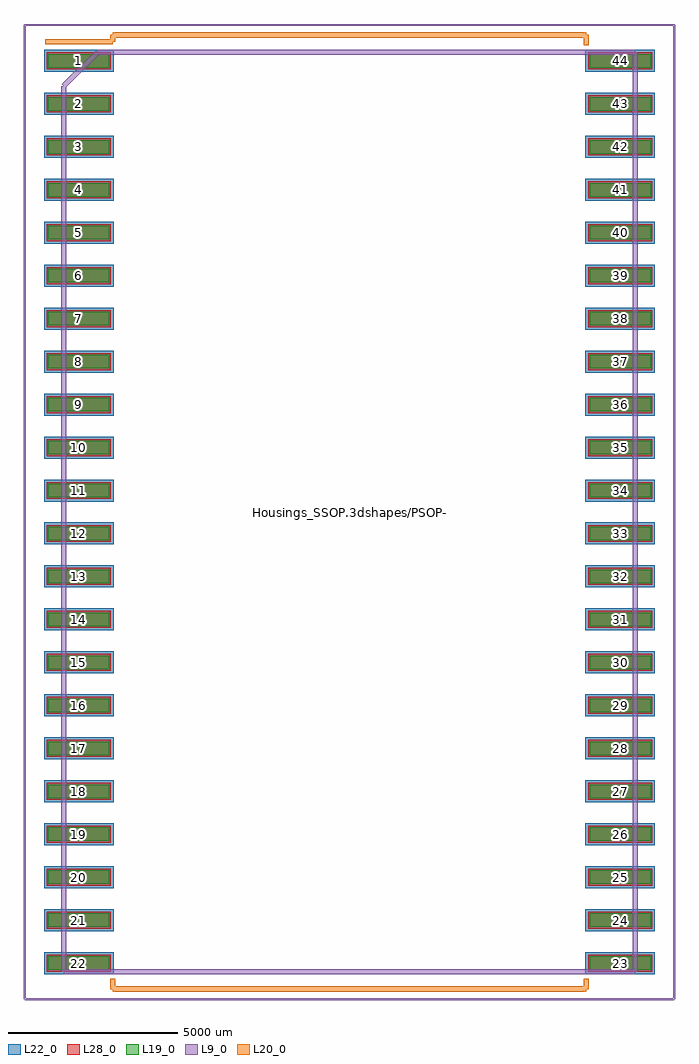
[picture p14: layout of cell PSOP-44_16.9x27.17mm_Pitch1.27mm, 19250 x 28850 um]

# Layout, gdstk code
import gdstk
lib = gdstk.Library(unit=1e-6, precision=1e-09)
def R(c, l, rs):  # rectangles x0, y0, x1, y1
    for r in rs: c.add(gdstk.rectangle(r[:2], r[2:], *l))
def A(c, l, x, y, w, h, nx, ny, dx, dy):  # array of equal rectangles
    R(c, l, [(x+i*dx, y+j*dy, x+i*dx+w, y+j*dy+h) for i in range(nx) for j in range(ny)])
L9_0 = (9, 0)
L19_0 = (19, 0)
L20_0 = (20, 0)
L22_0 = (22, 0)
L28_0 = (28, 0)

psop_44_16_9x27_17mm_pit = lib.new_cell('PSOP-44_16.9x27.17mm_Pitch1.27mm')
A(psop_44_16_9x27_17mm_pit, L19_0, -8900, -13535, 1800, 400, 1, 22, 0, 1270)
A(psop_44_16_9x27_17mm_pit, L19_0, 7100, -13535, 1800, 400, 1, 22, 0, 1270)
A(psop_44_16_9x27_17mm_pit, L22_0, -9025, -13660, 2050, 650, 1, 22, 0, 1270)
A(psop_44_16_9x27_17mm_pit, L22_0, 6975, -13660, 2050, 650, 1, 22, 0, 1270)
A(psop_44_16_9x27_17mm_pit, L28_0, -8950, -13585, 1900, 500, 1, 22, 0, 1270)
A(psop_44_16_9x27_17mm_pit, L28_0, 7050, -13585, 1900, 500, 1, 22, 0, 1270)
psop_44_16_9x27_17mm_pit.add(gdstk.FlexPath([(-7000,13900),(-9000,13900)], 149.998, ends="flush", simple_path=True, layer=20, datatype=0))  # L20_0
psop_44_16_9x27_17mm_pit.add(gdstk.FlexPath([(-7000,-14100),(7000,-14100)], 149.998, ends="flush", simple_path=True, layer=20, datatype=0))  # L20_0
psop_44_16_9x27_17mm_pit.add(gdstk.FlexPath([(-7000,14100),(7000,14100)], 149.998, ends="flush", simple_path=True, layer=20, datatype=0))  # L20_0
psop_44_16_9x27_17mm_pit.add(gdstk.FlexPath([(-7000,-13800),(-7000,-14100)], 149.998, ends="flush", simple_path=True, layer=20, datatype=0))  # L20_0
psop_44_16_9x27_17mm_pit.add(gdstk.FlexPath([(7000,-13800),(7000,-14100)], 149.998, ends="flush", simple_path=True, layer=20, datatype=0))  # L20_0
psop_44_16_9x27_17mm_pit.add(gdstk.FlexPath([(7000,14100),(7000,13800)], 149.998, ends="flush", simple_path=True, layer=20, datatype=0))  # L20_0
psop_44_16_9x27_17mm_pit.add(gdstk.FlexPath([(-7000,14100),(-7000,13900)], 149.998, ends="flush", simple_path=True, layer=20, datatype=0))  # L20_0
psop_44_16_9x27_17mm_pit.add(gdstk.FlexPath([(-9600,-14400),(9600,-14400)], 50, ends="flush", simple_path=True, layer=9, datatype=0))  # L9_0
psop_44_16_9x27_17mm_pit.add(gdstk.FlexPath([(-9600,14400),(9600,14400)], 50, ends="flush", simple_path=True, layer=9, datatype=0))  # L9_0
psop_44_16_9x27_17mm_pit.add(gdstk.FlexPath([(9600,14400),(9600,-14400)], 50, ends="flush", simple_path=True, layer=9, datatype=0))  # L9_0
psop_44_16_9x27_17mm_pit.add(gdstk.FlexPath([(-9600,14400),(-9600,-14400)], 50, ends="flush", simple_path=True, layer=9, datatype=0))  # L9_0
psop_44_16_9x27_17mm_pit.add(gdstk.FlexPath([(-8450,12585),(-7450,13585)], 149.998, ends="flush", simple_path=True, layer=9, datatype=0))  # L9_0
psop_44_16_9x27_17mm_pit.add(gdstk.FlexPath([(-8450,-13585),(-8450,12585)], 149.998, ends="flush", simple_path=True, layer=9, datatype=0))  # L9_0
psop_44_16_9x27_17mm_pit.add(gdstk.FlexPath([(8450,-13585),(-8450,-13585)], 149.998, ends="flush", simple_path=True, layer=9, datatype=0))  # L9_0
psop_44_16_9x27_17mm_pit.add(gdstk.FlexPath([(8450,13585),(8450,-13585)], 149.998, ends="flush", simple_path=True, layer=9, datatype=0))  # L9_0
psop_44_16_9x27_17mm_pit.add(gdstk.FlexPath([(-7450,13585),(8450,13585)], 149.998, ends="flush", simple_path=True, layer=9, datatype=0))  # L9_0
psop_44_16_9x27_17mm_pit.add(gdstk.Label('Housings_SSOP.3dshapes/PSOP-44_16.9x27.17mm_Pitch1.27mm.wrl', (0,0), layer=12, texttype=0))
psop_44_16_9x27_17mm_pit.add(gdstk.Label('44', (8000,13335), layer=28, texttype=0))
psop_44_16_9x27_17mm_pit.add(gdstk.Label('43', (8000,12065), layer=28, texttype=0))
psop_44_16_9x27_17mm_pit.add(gdstk.Label('42', (8000,10795), layer=28, texttype=0))
psop_44_16_9x27_17mm_pit.add(gdstk.Label('41', (8000,9525), layer=28, texttype=0))
psop_44_16_9x27_17mm_pit.add(gdstk.Label('40', (8000,8255), layer=28, texttype=0))
psop_44_16_9x27_17mm_pit.add(gdstk.Label('39', (8000,6985), layer=28, texttype=0))
psop_44_16_9x27_17mm_pit.add(gdstk.Label('38', (8000,5715), layer=28, texttype=0))
psop_44_16_9x27_17mm_pit.add(gdstk.Label('37', (8000,4445), layer=28, texttype=0))
psop_44_16_9x27_17mm_pit.add(gdstk.Label('36', (8000,3175), layer=28, texttype=0))
psop_44_16_9x27_17mm_pit.add(gdstk.Label('35', (8000,1905), layer=28, texttype=0))
psop_44_16_9x27_17mm_pit.add(gdstk.Label('34', (8000,635), layer=28, texttype=0))
psop_44_16_9x27_17mm_pit.add(gdstk.Label('33', (8000,-635), layer=28, texttype=0))
psop_44_16_9x27_17mm_pit.add(gdstk.Label('32', (8000,-1905), layer=28, texttype=0))
psop_44_16_9x27_17mm_pit.add(gdstk.Label('31', (8000,-3175), layer=28, texttype=0))
psop_44_16_9x27_17mm_pit.add(gdstk.Label('30', (8000,-4445), layer=28, texttype=0))
psop_44_16_9x27_17mm_pit.add(gdstk.Label('29', (8000,-5715), layer=28, texttype=0))
psop_44_16_9x27_17mm_pit.add(gdstk.Label('28', (8000,-6985), layer=28, texttype=0))
psop_44_16_9x27_17mm_pit.add(gdstk.Label('27', (8000,-8255), layer=28, texttype=0))
psop_44_16_9x27_17mm_pit.add(gdstk.Label('26', (8000,-9525), layer=28, texttype=0))
psop_44_16_9x27_17mm_pit.add(gdstk.Label('25', (8000,-10795), layer=28, texttype=0))
psop_44_16_9x27_17mm_pit.add(gdstk.Label('22', (-8000,-13335), layer=28, texttype=0))
psop_44_16_9x27_17mm_pit.add(gdstk.Label('23', (8000,-13335), layer=28, texttype=0))
psop_44_16_9x27_17mm_pit.add(gdstk.Label('21', (-8000,-12065), layer=28, texttype=0))
psop_44_16_9x27_17mm_pit.add(gdstk.Label('24', (8000,-12065), layer=28, texttype=0))
psop_44_16_9x27_17mm_pit.add(gdstk.Label('20', (-8000,-10795), layer=28, texttype=0))
psop_44_16_9x27_17mm_pit.add(gdstk.Label('19', (-8000,-9525), layer=28, texttype=0))
psop_44_16_9x27_17mm_pit.add(gdstk.Label('18', (-8000,-8255), layer=28, texttype=0))
psop_44_16_9x27_17mm_pit.add(gdstk.Label('17', (-8000,-6985), layer=28, texttype=0))
psop_44_16_9x27_17mm_pit.add(gdstk.Label('16', (-8000,-5715), layer=28, texttype=0))
psop_44_16_9x27_17mm_pit.add(gdstk.Label('15', (-8000,-4445), layer=28, texttype=0))
psop_44_16_9x27_17mm_pit.add(gdstk.Label('14', (-8000,-3175), layer=28, texttype=0))
psop_44_16_9x27_17mm_pit.add(gdstk.Label('13', (-8000,-1905), layer=28, texttype=0))
psop_44_16_9x27_17mm_pit.add(gdstk.Label('12', (-8000,-635), layer=28, texttype=0))
psop_44_16_9x27_17mm_pit.add(gdstk.Label('11', (-8000,635), layer=28, texttype=0))
psop_44_16_9x27_17mm_pit.add(gdstk.Label('10', (-8000,1905), layer=28, texttype=0))
psop_44_16_9x27_17mm_pit.add(gdstk.Label('9', (-8000,3175), layer=28, texttype=0))
psop_44_16_9x27_17mm_pit.add(gdstk.Label('8', (-8000,4445), layer=28, texttype=0))
psop_44_16_9x27_17mm_pit.add(gdstk.Label('7', (-8000,5715), layer=28, texttype=0))
psop_44_16_9x27_17mm_pit.add(gdstk.Label('6', (-8000,6985), layer=28, texttype=0))
psop_44_16_9x27_17mm_pit.add(gdstk.Label('5', (-8000,8255), layer=28, texttype=0))
psop_44_16_9x27_17mm_pit.add(gdstk.Label('4', (-8000,9525), layer=28, texttype=0))
psop_44_16_9x27_17mm_pit.add(gdstk.Label('3', (-8000,10795), layer=28, texttype=0))
psop_44_16_9x27_17mm_pit.add(gdstk.Label('2', (-8000,12065), layer=28, texttype=0))
psop_44_16_9x27_17mm_pit.add(gdstk.Label('1', (-8000,13335), layer=28, texttype=0))
psop_44_16_9x27_17mm_pit.add(gdstk.Label('type', (0,-15240), layer=9, texttype=0))
psop_44_16_9x27_17mm_pit.add(gdstk.Label('devicename', (0,15285), layer=9, texttype=0))

lib.write_gds('PSOP-44_16.9x27.17mm_Pitch1.27mm.gds')
